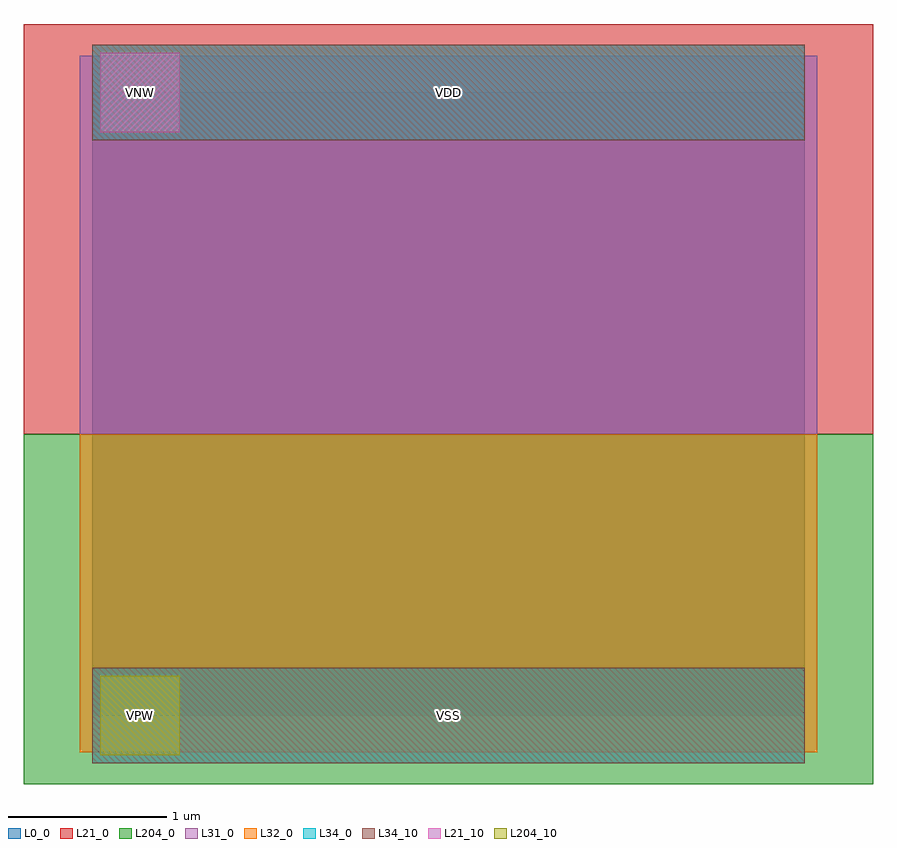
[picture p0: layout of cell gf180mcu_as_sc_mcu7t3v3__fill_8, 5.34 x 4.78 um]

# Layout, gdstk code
import gdstk
lib = gdstk.Library(unit=1e-6, precision=1e-09)
def R(c, l, rs):  # rectangles x0, y0, x1, y1
    for r in rs: c.add(gdstk.rectangle(r[:2], r[2:], *l))
L0_0 = (0, 0)
L21_0 = (21, 0)
L21_10 = (21, 10)
L31_0 = (31, 0)
L32_0 = (32, 0)
L34_0 = (34, 0)
L34_10 = (34, 10)
L204_0 = (204, 0)
L204_10 = (204, 10)

gf180mcu_as_sc_mcu7t3v3_ = lib.new_cell('gf180mcu_as_sc_mcu7t3v3__fill_8')
R(gf180mcu_as_sc_mcu7t3v3_, L0_0, [(0,0,4.48,3.92)])
R(gf180mcu_as_sc_mcu7t3v3_, L21_0, [(-0.43,1.77,4.91,4.35)])
R(gf180mcu_as_sc_mcu7t3v3_, L21_10, [(0.05,3.67,0.55,4.17)])
R(gf180mcu_as_sc_mcu7t3v3_, L31_0, [(-0.08,1.77,4.56,4.15)])
R(gf180mcu_as_sc_mcu7t3v3_, L32_0, [(-0.08,-0.23,4.56,1.77)])
R(gf180mcu_as_sc_mcu7t3v3_, L34_0, [(0,-0.3,4.48,0.3), (0,3.62,4.48,4.22)])
R(gf180mcu_as_sc_mcu7t3v3_, L34_10, [(0,-0.3,4.48,0.3), (0,3.62,4.48,4.22)])
R(gf180mcu_as_sc_mcu7t3v3_, L204_0, [(-0.43,-0.43,4.91,1.77)])
R(gf180mcu_as_sc_mcu7t3v3_, L204_10, [(0.05,-0.25,0.55,0.25)])
gf180mcu_as_sc_mcu7t3v3_.add(gdstk.Label('VDD', (2.24,3.92), layer=34, texttype=10))
gf180mcu_as_sc_mcu7t3v3_.add(gdstk.Label('VNW', (0.3,3.92), layer=21, texttype=10))
gf180mcu_as_sc_mcu7t3v3_.add(gdstk.Label('VPW', (0.3,0), layer=204, texttype=10))
gf180mcu_as_sc_mcu7t3v3_.add(gdstk.Label('VSS', (2.24,0), layer=34, texttype=10))

lib.write_gds('gf180mcu_as_sc_mcu7t3v3__fill_8.gds')
